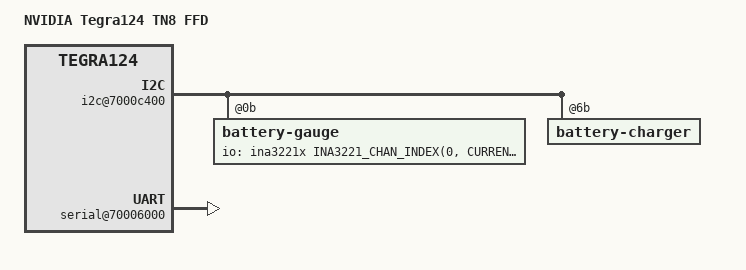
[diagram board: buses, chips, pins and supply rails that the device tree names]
/dts-v1/;

#include "tegra124-tn8.dtsi"
#include "tegra124-platforms/tegra124-tn8-emc-p1761-1270-a00.dtsi"
#include "tegra124-platforms/tegra124-tn8-power-tree-e1936-1000-a00.dtsi"
#include "tegra124-platforms/tegra124-tn8-sensor-p1761-1270-a03.dtsi"
#include "tegra124-platforms/tegra124-tn8-pinmux-p1761-1470-a00.dtsi"
#include "tegra124-platforms/tegra124-tn8-gpio-p1761-1470-a00.dtsi"
#include "tegra124-platforms/tegra124-tn8-keys-p1761-1270-a03.dtsi"
#include "tegra124-platforms/tegra124-tn8-sysedp-p1761-1270-a02.dtsi"
#include "tegra124-platforms/tegra124-tn8-powermon-p1761-a02.dtsi"
#include "tegra124-platforms/tegra124-tn8-dfll-p1761-1270-a03.dtsi"
#include <dt-bindings/iio/meter/ina3221x.h>

/ {
	model = "NVIDIA Tegra124 TN8 FFD";
	compatible = "nvidia,tn8", "nvidia,tegra124";
	nvidia,dtsfilename = __FILE__;
	nvidia,boardids = "1761:1270:4";
	#address-cells = <2>;
	#size-cells = <2>;

	chosen {
		bootargs = "tegraid=40.0.0.00.00 vmalloc=256M video=tegrafb console=ttyS0,115200n8 earlyprintk";
		linux,initrd-start = <0x85000000>;
		linux,initrd-end = <0x851bc400>;
	};

	i2c@7000c400 {
		 battery-gauge@0b {
			onsemi,kernel-threshold-soc = <2>;
			onsemi,kernel-maximum-soc = <100>;
			io-channels = <&ina3221x INA3221_CHAN_INDEX(0, CURRENT, NORMAL)>;
			io-channel-names = "battery-current";
			dt-override-status-odm-data = <0x00C00000 0x00400000>;
		};

		battery-charger@6b {
			charger {
				ti,charge-voltage-limit-millivolt = <4352>;
				ti,temp-range = <10 15 25 45 60>;
				ti,charge-thermal-voltage-limit = <4352 4352 4352 4352 4200>;
				ti,charge-current-limit = <1040 1040 2600 5200 2600>;
				ti,soc-range = <94 100>;
				ti,input-voltage-soc-limit = <4680 4760>;
				ti,charge-term-current-limit-milliamp = <1>;
				dt-override-status-odm-data = <0x00C00000 0x00400000>;
			};
		};
	};

	i2c@7000d000 {
		palmas: tps65913 {
			gpadc {
				ti,auto-conversion-period-ms = <500>;
				auto_conv0 {
					ti,adc-channel-number = <3>;
					ti,adc-low-threshold = <1980>;
					ti,enable-shutdown;
				};
			};

			pmic {
				regulators {
					ldo3 {
						regulator-min-microvolt = <3300000>;
						regulator-max-microvolt = <3300000>;
						regulator-enable-ramp-delay = <3000>;
						ti,disable-pull-down;
					};
				};
			};
		};
	};

	sysedp_batmon_calc {
		status = "okay";
	};

	regulators {
		regulator@8  {
			vin-supply = <&ldo3_reg>;
			regulator-disable-parent-after-enable;
		};
	};

	serial@70006000 {
		compatible = "nvidia,tegra20-uart";
		console-port;
	};
};

